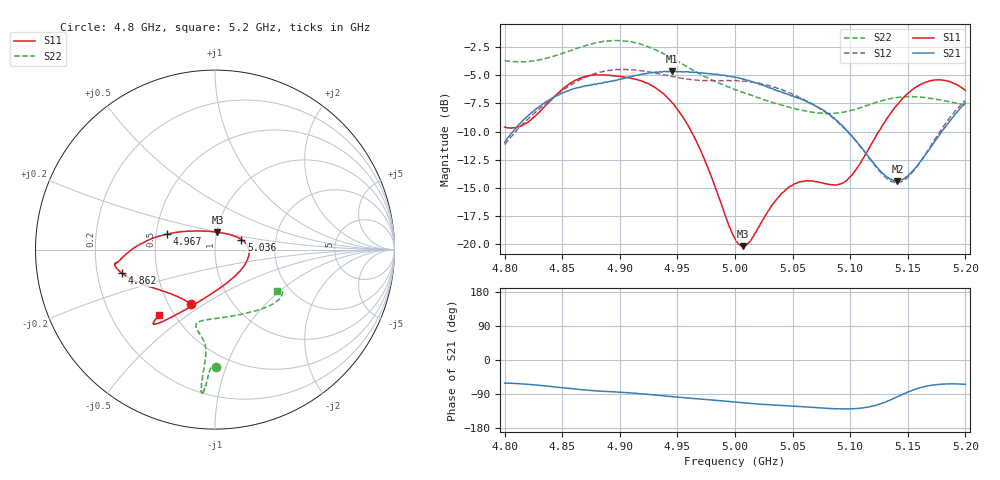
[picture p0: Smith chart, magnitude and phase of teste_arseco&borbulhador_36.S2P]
! Network Analyzer HP8722D
! Hewlett-Packard
! Data name: Linha & Wilkinson
! Saver's name: Rodrigo Anjos
! Comments: Teste da utilização de aquisição
! continua pelo VNA HP8722D
! Time and date: 15/4/2025 15:56
!  Frequency  S11  S21  S12  S22
# HZ  S  MA R 50
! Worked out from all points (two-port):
!   401 points, 4.8 GHz to 5.2 GHz, reference 50 ohm
!   highest |S21| = -4.63 dB at 4.945 GHz (marker M1); lowest = -14.4 dB at 5.141 GHz (marker M2)
!   |S21| within 3 dB of the highest: 4.832 GHz to 5.069 GHz (236.5 MHz wide, 4.78 % of centre); 5.198275 GHz to end of sweep
!   lowest |S11| = -20.2 dB at 5.007 GHz (marker M3), VSWR 1.22, Z = 50.4 + j9.85 ohm
!   |S11| at or under -10 dB: 4.962 GHz to 5.125 GHz (162.7 MHz wide, 3.23 % of centre)
!   |S22| runs from -8.4 to -1.9 dB; largest |S21 - S12| = 0.88
!   S11 on the Smith chart (normalised r, x): 4.8 GHz: 0.65, -0.44; 4.862 GHz: 0.31, -0.11; 4.967 GHz: 0.57, +0.11; 5.036 GHz: 1.34, +0.15; 5.2 GHz: 0.41, -0.39
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4.8e9  0.3309 -114.0  0.2833 -61.0  0.2768 -175.2  0.6542 -89.6
4.819e9  0.3454 -133.8  0.3668 -64.0  0.3539 -173.6  0.6485 -91.2
4.862e9  0.5367 -165.9  0.4939 -76.9  0.5263 -176.6  0.7396 -93.6
4.867e9  0.5499 -167.9  0.501 -78.5  0.5423 -177.5  0.7539 -93.7
4.899e9  0.5569 -172.4  0.5385 -85.1  0.5968 175.6  0.8026 -95.2
4.934e9  0.4838 -178.3  0.5809 -93.4  0.5726 171.9  0.7182 -95.6
4.945e9  0.4279 176.7  0.587 -96.7  0.5569 172.0  0.6718 -95.4
4.967e9  0.2827 162.2  0.5798 -102.2  0.5356 174.0  0.5805 -95.0
5e9  0.1055 106.1  0.5518 -111.0  0.5348 176.5  0.4858 -99.3
5.007e9  0.09776 82.1  0.5405 -112.8  0.5292 176.2  0.4718 -100.8
5.014e9  0.1042 60.2  0.529 -114.7  0.5254 176.1  0.4595 -102.4
5.036e9  0.1576 20.9  0.4813 -119.4  0.4943 174.9  0.4195 -103.7
5.049e9  0.1814 7.3  0.4556 -121.3  0.467 174.6  0.403 -100.7
5.067e9  0.1907 -12.0  0.42 -124.8  0.42 173.9  0.386 -91.7
5.087e9  0.1829 -44.5  0.3582 -128.7  0.3563 173.6  0.3817 -76.8
5.097e9  0.1915 -65.5  0.3202 -129.2  0.3189 174.5  0.3889 -68.4
5.134e9  0.3745 -116.4  0.195 -106.6  0.1918 -159.4  0.4422 -43.4
5.141e9  0.4171 -120.4  0.1908 -96.6  0.1878 -148.3  0.4482 -40.2
5.153e9  0.4819 -125.2  0.2079 -80.7  0.2052 -129.8  0.4521 -36.0
5.17e9  0.5327 -128.8  0.2694 -67.0  0.2739 -113.0  0.4444 -32.1
5.184e9  0.532 -130.1  0.34 -63.2  0.3506 -107.4  0.4316 -31.2
5.2e9  0.4818 -130.5  0.4246 -64.2  0.4355 -106.3  0.4157 -33.5
